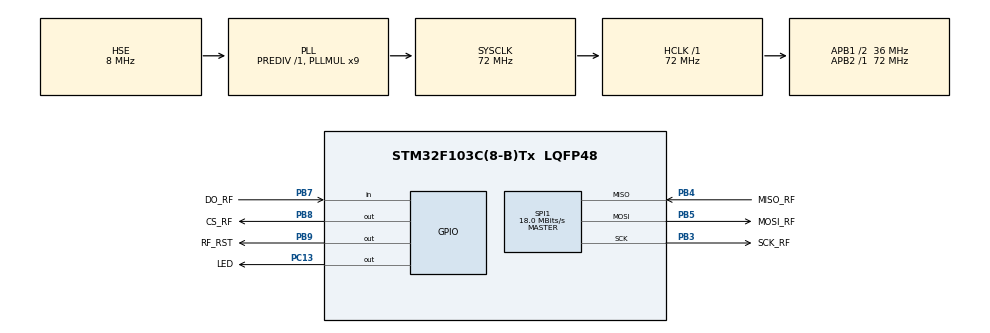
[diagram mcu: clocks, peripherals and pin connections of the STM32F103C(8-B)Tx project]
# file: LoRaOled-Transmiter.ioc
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Mcu.Family=STM32F1
Mcu.Name=STM32F103C(8-B)Tx
Mcu.Package=LQFP48
NVIC.PriorityGroup=NVIC_PRIORITYGROUP_4
NVIC.SPI1_IRQn=true\:0\:0\:false\:false\:true\:true\:true
PA13.Mode=Serial_Wire
PA13.Signal=SYS_JTMS-SWDIO
PA14.Mode=Serial_Wire
PA14.Signal=SYS_JTCK-SWCLK
PB3.GPIO_Label=SCK_RF
PB3.Mode=Full_Duplex_Master
PB3.Signal=SPI1_SCK
PB4.GPIO_Label=MISO_RF
PB4.Mode=Full_Duplex_Master
PB4.Signal=SPI1_MISO
PB5.GPIO_Label=MOSI_RF
PB5.Mode=Full_Duplex_Master
PB5.Signal=SPI1_MOSI
PB7.GPIO_Label=DO_RF
PB7.Signal=GPIO_Input
PB8.GPIO_Label=CS_RF
PB8.Signal=GPIO_Output
PB9.GPIO_Label=RF_RST
PB9.Signal=GPIO_Output
PC13-TAMPER-RTC.GPIO_Label=LED
PC13-TAMPER-RTC.Signal=GPIO_Output
PC14-OSC32_IN.Mode=LSE-External-Oscillator
PC14-OSC32_IN.Signal=RCC_OSC32_IN
PC15-OSC32_OUT.Mode=LSE-External-Oscillator
PC15-OSC32_OUT.Signal=RCC_OSC32_OUT
PD0-OSC_IN.Mode=HSE-External-Oscillator
PD0-OSC_IN.Signal=RCC_OSC_IN
PD1-OSC_OUT.Mode=HSE-External-Oscillator
PD1-OSC_OUT.Signal=RCC_OSC_OUT
ProjectManager.HeapSize=0x200
ProjectManager.StackSize=0x400
ProjectManager.TargetToolchain=STM32CubeIDE
RCC.ADCPresc=RCC_ADCPCLK2_DIV6
RCC.AHBFreq_Value=72000000
RCC.APB1CLKDivider=RCC_HCLK_DIV2
RCC.APB1Freq_Value=36000000
RCC.APB1TimFreq_Value=72000000
RCC.APB2Freq_Value=72000000
RCC.APB2TimFreq_Value=72000000
RCC.HCLKFreq_Value=72000000
RCC.PLLMUL=RCC_PLL_MUL9
RCC.PLLSourceVirtual=RCC_PLLSOURCE_HSE
RCC.SYSCLKFreq_VALUE=72000000
RCC.SYSCLKSource=RCC_SYSCLKSOURCE_PLLCLK
RCC.USBFreq_Value=72000000
SPI1.BaudRatePrescaler=SPI_BAUDRATEPRESCALER_4
SPI1.CalculateBaudRate=18.0 MBits/s
SPI1.Direction=SPI_DIRECTION_2LINES
SPI1.Mode=SPI_MODE_MASTER
SPI1.VirtualType=VM_MASTER
board=custom

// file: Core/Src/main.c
/* USER CODE BEGIN Header */
/**
  ******************************************************************************
  * @file           : main.c
  * @brief          : Main program body
  ******************************************************************************
  * @attention
  *
  * <h2><center>&copy; Copyright (c) 2020 STMicroelectronics.
  * All rights reserved.</center></h2>
  *
  * This software component is licensed by ST under BSD 3-Clause license,
  * the "License"; You may not use this file except in compliance with the
  * License. You may obtain a copy of the License at:
  *                        opensource.org/licenses/BSD-3-Clause
  *
  ******************************************************************************
  */
/* USER CODE END Header */

#include "main.h"

/* USER CODE BEGIN Includes */
#include "SX1278.h"
#include "stdio.h"

/* USER CODE END Includes */

SPI_HandleTypeDef hspi1;

void SystemClock_Config(void);
static void MX_GPIO_Init(void);
static void MX_SPI1_Init(void);

/* USER CODE BEGIN 0 */
SX1278_hw_t SX1278_hw;
SX1278_t SX1278;

int ret;
char buffer[64];
int message = 0;
int message_length;

char latitude[23][10] = { "51.10812", "51.10779", "51.10753", "51.10721",
		"51.10704", "51.10711", "51.10713", "51.10713", "51.10766", "51.10854",
		"51.10907", "51.10967", "51.11018", "51.11071", "51.11103", "51.11111",
		"51.11088", "51.11052", "51.11025", "51.10998", "51.10969", "51.10906",
		"51.10851" };
char longitude[23][10] = { "17.05476", "17.05523", "17.05581", "17.05681",
		"17.05801", "17.05923", "17.06013", "17.06109", "17.06111", "17.06138",
		"17.06181", "17.06229", "17.06269", "17.06155", "17.06091", "17.05988",
		"17.05867", "17.05738", "17.05654", "17.05563", "17.05474", "17.05422",
		"17.05439" };
char height[23][10] = { "245.1", "246.3", "245.2", "246.4", "245.3", "246.5",
		"245.4", "246.6", "245.5", "246.7", "245.6", "246.8", "245.7", "246.8",
		"245.7", "245.3", "246.5", "245.4", "245.4", "246.6", "245.5", "245.5",
		"246.7" };
char speed[23][10] = { "46.5", "46.3", "46.1", "45.9", "45.7", "45.5", "45.8",
		"46.1", "46.4", "46.7", "47.1", "47.5", "47.9", "48.3", "48.7", "49.1",
		"48.4", "48.1", "47.8", "47.5", "47.2", "46.9", "46.6" };

/* USER CODE END 0 */

int main(void)
{

  /* MCU Configuration--------------------------------------------------------*/

  /* Reset of all peripherals, Initializes the Flash interface and the Systick. */
  HAL_Init();

  /* Configure the system clock */
  SystemClock_Config();

  /* Initialize all configured peripherals */
  MX_GPIO_Init();
  MX_SPI1_Init();
  /* USER CODE BEGIN 2 */

	//initialize LoRa module
	SX1278_hw.dio0.port = DO_RF_GPIO_Port;
	SX1278_hw.dio0.pin = DO_RF_Pin;
	SX1278_hw.nss.port = CS_RF_GPIO_Port;
	SX1278_hw.nss.pin = CS_RF_Pin;
	SX1278_hw.reset.port = RF_RST_GPIO_Port;
	SX1278_hw.reset.pin = RF_RST_Pin;
	SX1278_hw.spi = &hspi1;

	SX1278.hw = &SX1278_hw;

	//SX1278_begin(&SX1278, SX1278_433MHZ, SX1278_POWER_17DBM, SX1278_LORA_SF_8, SX1278_LORA_BW_20_8KHZ, 10);
	SX1278_begin(&SX1278, 868E6, SX1278_POWER_20DBM, SX1278_LORA_SF_8, SX1278_LORA_BW_125KHZ, 10);
	ret = SX1278_LoRaEntryTx(&SX1278, 16, 2000);

  /* USER CODE END 2 */

  /* Infinite loop */
  /* USER CODE BEGIN WHILE */
	int i = 0;
  while (1)
  {
		HAL_Delay(500);
		message_length = sprintf(buffer, "S %s %s %s %s", latitude[i], longitude[i], height[i], speed[i]);
		ret = SX1278_LoRaEntryTx(&SX1278, message_length, 2000);
		ret = SX1278_LoRaTxPacket(&SX1278, (uint8_t*) buffer, message_length,2000);
		i++;
		if (i >= 23) i = 0;

    /* USER CODE END WHILE */

  }
}

void SystemClock_Config(void)
{
  RCC_OscInitTypeDef RCC_OscInitStruct = {0};
  RCC_ClkInitTypeDef RCC_ClkInitStruct = {0};

  /** Initializes the CPU, AHB and APB busses clocks
  */
  RCC_OscInitStruct.OscillatorType = RCC_OSCILLATORTYPE_HSE;
  RCC_OscInitStruct.HSEState = RCC_HSE_ON;
  RCC_OscInitStruct.HSEPredivValue = RCC_HSE_PREDIV_DIV1;
  RCC_OscInitStruct.HSIState = RCC_HSI_ON;
  RCC_OscInitStruct.PLL.PLLState = RCC_PLL_ON;
  RCC_OscInitStruct.PLL.PLLSource = RCC_PLLSOURCE_HSE;
  RCC_OscInitStruct.PLL.PLLMUL = RCC_PLL_MUL9;
  if (HAL_RCC_OscConfig(&RCC_OscInitStruct) != HAL_OK)
  {
    Error_Handler();
  }
  /** Initializes the CPU, AHB and APB busses clocks
  */
  RCC_ClkInitStruct.ClockType = RCC_CLOCKTYPE_HCLK|RCC_CLOCKTYPE_SYSCLK
                              |RCC_CLOCKTYPE_PCLK1|RCC_CLOCKTYPE_PCLK2;
  RCC_ClkInitStruct.SYSCLKSource = RCC_SYSCLKSOURCE_PLLCLK;
  RCC_ClkInitStruct.AHBCLKDivider = RCC_SYSCLK_DIV1;
  RCC_ClkInitStruct.APB1CLKDivider = RCC_HCLK_DIV2;
  RCC_ClkInitStruct.APB2CLKDivider = RCC_HCLK_DIV1;

  if (HAL_RCC_ClockConfig(&RCC_ClkInitStruct, FLASH_LATENCY_2) != HAL_OK)
  {
    Error_Handler();
  }
}

static void MX_SPI1_Init(void)
{

  /* SPI1 parameter configuration*/
  hspi1.Instance = SPI1;
  hspi1.Init.Mode = SPI_MODE_MASTER;
  hspi1.Init.Direction = SPI_DIRECTION_2LINES;
  hspi1.Init.DataSize = SPI_DATASIZE_8BIT;
  hspi1.Init.CLKPolarity = SPI_POLARITY_LOW;
  hspi1.Init.CLKPhase = SPI_PHASE_1EDGE;
  hspi1.Init.NSS = SPI_NSS_SOFT;
  hspi1.Init.BaudRatePrescaler = SPI_BAUDRATEPRESCALER_4;
  hspi1.Init.FirstBit = SPI_FIRSTBIT_MSB;
  hspi1.Init.TIMode = SPI_TIMODE_DISABLE;
  hspi1.Init.CRCCalculation = SPI_CRCCALCULATION_DISABLE;
  hspi1.Init.CRCPolynomial = 10;
  if (HAL_SPI_Init(&hspi1) != HAL_OK)
  {
    Error_Handler();
  }

}

static void MX_GPIO_Init(void)
{
  GPIO_InitTypeDef GPIO_InitStruct = {0};

  /* GPIO Ports Clock Enable */
  __HAL_RCC_GPIOC_CLK_ENABLE();
  __HAL_RCC_GPIOD_CLK_ENABLE();
  __HAL_RCC_GPIOA_CLK_ENABLE();
  __HAL_RCC_GPIOB_CLK_ENABLE();

  /*Configure GPIO pin Output Level */
  HAL_GPIO_WritePin(LED_GPIO_Port, LED_Pin, GPIO_PIN_RESET);

  /*Configure GPIO pin Output Level */
  HAL_GPIO_WritePin(GPIOB, CS_RF_Pin|RF_RST_Pin, GPIO_PIN_RESET);

  /*Configure GPIO pin : LED_Pin */
  GPIO_InitStruct.Pin = LED_Pin;
  GPIO_InitStruct.Mode = GPIO_MODE_OUTPUT_PP;
  GPIO_InitStruct.Pull = GPIO_NOPULL;
  GPIO_InitStruct.Speed = GPIO_SPEED_FREQ_LOW;
  HAL_GPIO_Init(LED_GPIO_Port, &GPIO_InitStruct);

  /*Configure GPIO pin : DO_RF_Pin */
  GPIO_InitStruct.Pin = DO_RF_Pin;
  GPIO_InitStruct.Mode = GPIO_MODE_INPUT;
  GPIO_InitStruct.Pull = GPIO_NOPULL;
  HAL_GPIO_Init(DO_RF_GPIO_Port, &GPIO_InitStruct);

  /*Configure GPIO pins : CS_RF_Pin RF_RST_Pin */
  GPIO_InitStruct.Pin = CS_RF_Pin|RF_RST_Pin;
  GPIO_InitStruct.Mode = GPIO_MODE_OUTPUT_PP;
  GPIO_InitStruct.Pull = GPIO_NOPULL;
  GPIO_InitStruct.Speed = GPIO_SPEED_FREQ_LOW;
  HAL_GPIO_Init(GPIOB, &GPIO_InitStruct);

}

void Error_Handler(void)
{
}

/************************ (C) COPYRIGHT STMicroelectronics *****END OF FILE****/
